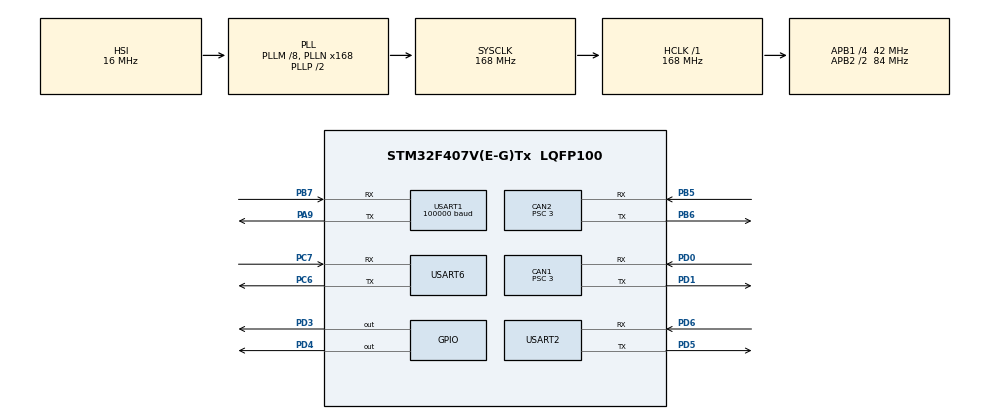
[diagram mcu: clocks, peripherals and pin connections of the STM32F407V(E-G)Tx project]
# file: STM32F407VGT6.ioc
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CAN1.BS1=CAN_BS1_10TQ
CAN1.BS2=CAN_BS2_3TQ
CAN1.CalculateBaudRate=1000000
CAN1.CalculateTimeBit=1000
CAN1.CalculateTimeQuantum=71.42857142857143
CAN1.Prescaler=3
CAN2.BS1=CAN_BS1_10TQ
CAN2.BS2=CAN_BS2_3TQ
CAN2.CalculateBaudRate=1000000
CAN2.CalculateTimeBit=1000
CAN2.CalculateTimeQuantum=71.42857142857143
CAN2.Prescaler=3
Dma.Request0=USART1_RX
Dma.Request1=USART2_RX
Dma.Request2=USART6_RX
Dma.USART1_RX.0.Direction=DMA_PERIPH_TO_MEMORY
Dma.USART1_RX.0.FIFOMode=DMA_FIFOMODE_DISABLE
Dma.USART1_RX.0.Instance=DMA2_Stream5
Dma.USART1_RX.0.MemDataAlignment=DMA_MDATAALIGN_BYTE
Dma.USART1_RX.0.MemInc=DMA_MINC_ENABLE
Dma.USART1_RX.0.Mode=DMA_CIRCULAR
Dma.USART1_RX.0.PeriphDataAlignment=DMA_PDATAALIGN_BYTE
Dma.USART1_RX.0.PeriphInc=DMA_PINC_DISABLE
Dma.USART1_RX.0.Priority=DMA_PRIORITY_VERY_HIGH
Dma.USART2_RX.1.Direction=DMA_PERIPH_TO_MEMORY
Dma.USART2_RX.1.FIFOMode=DMA_FIFOMODE_DISABLE
Dma.USART2_RX.1.Instance=DMA1_Stream5
Dma.USART2_RX.1.MemDataAlignment=DMA_MDATAALIGN_BYTE
Dma.USART2_RX.1.MemInc=DMA_MINC_ENABLE
Dma.USART2_RX.1.Mode=DMA_CIRCULAR
Dma.USART2_RX.1.PeriphDataAlignment=DMA_PDATAALIGN_BYTE
Dma.USART2_RX.1.PeriphInc=DMA_PINC_DISABLE
Dma.USART2_RX.1.Priority=DMA_PRIORITY_LOW
Dma.USART6_RX.2.Direction=DMA_PERIPH_TO_MEMORY
Dma.USART6_RX.2.FIFOMode=DMA_FIFOMODE_DISABLE
Dma.USART6_RX.2.Instance=DMA2_Stream1
Dma.USART6_RX.2.MemDataAlignment=DMA_MDATAALIGN_BYTE
Dma.USART6_RX.2.MemInc=DMA_MINC_ENABLE
Dma.USART6_RX.2.Mode=DMA_NORMAL
Dma.USART6_RX.2.PeriphDataAlignment=DMA_PDATAALIGN_BYTE
Dma.USART6_RX.2.PeriphInc=DMA_PINC_DISABLE
Dma.USART6_RX.2.Priority=DMA_PRIORITY_LOW
Mcu.Family=STM32F4
Mcu.Name=STM32F407V(E-G)Tx
Mcu.Package=LQFP100
NVIC.CAN1_RX0_IRQn=true\:0\:0\:false\:false\:true\:true\:true\:true
NVIC.CAN1_RX1_IRQn=true\:0\:0\:false\:false\:true\:true\:true\:true
NVIC.CAN2_RX0_IRQn=true\:0\:0\:false\:false\:true\:true\:true\:true
NVIC.CAN2_RX1_IRQn=true\:0\:0\:false\:false\:true\:true\:true\:true
NVIC.DMA1_Stream5_IRQn=true\:0\:0\:false\:false\:true\:false\:true\:true
NVIC.DMA2_Stream1_IRQn=true\:0\:0\:false\:false\:true\:false\:true\:true
NVIC.DMA2_Stream5_IRQn=true\:0\:0\:false\:false\:true\:false\:true\:true
NVIC.PriorityGroup=NVIC_PRIORITYGROUP_4
NVIC.TIM6_DAC_IRQn=true\:0\:0\:false\:false\:true\:true\:true\:true
NVIC.USART1_IRQn=true\:0\:0\:false\:false\:true\:true\:true\:true
NVIC.USART2_IRQn=true\:0\:0\:false\:false\:true\:true\:true\:true
NVIC.USART6_IRQn=true\:0\:0\:false\:false\:true\:true\:true\:true
PA13.Mode=Serial_Wire
PA13.Signal=SYS_JTMS-SWDIO
PA14.Mode=Serial_Wire
PA14.Signal=SYS_JTCK-SWCLK
PA9.Mode=Asynchronous
PA9.Signal=USART1_TX
PB5.Mode=CAN_Activate
PB5.Signal=CAN2_RX
PB6.Mode=CAN_Activate
PB6.Signal=CAN2_TX
PB7.Mode=Asynchronous
PB7.Signal=USART1_RX
PC6.Mode=Asynchronous
PC6.Signal=USART6_TX
PC7.Mode=Asynchronous
PC7.Signal=USART6_RX
PD0.Mode=CAN_Activate
PD0.Signal=CAN1_RX
PD1.Mode=CAN_Activate
PD1.Signal=CAN1_TX
PD3.GPIO_ModeDefaultOutputPP=GPIO_MODE_OUTPUT_OD
PD3.GPIO_PuPd=GPIO_NOPULL
PD3.GPIO_Speed=GPIO_SPEED_FREQ_HIGH
PD3.Signal=GPIO_Output
PD4.GPIO_ModeDefaultOutputPP=GPIO_MODE_OUTPUT_OD
PD4.GPIO_PuPd=GPIO_NOPULL
PD4.GPIO_Speed=GPIO_SPEED_FREQ_HIGH
PD4.Signal=GPIO_Output
PD5.Mode=Asynchronous
PD5.Signal=USART2_TX
PD6.Mode=Asynchronous
PD6.Signal=USART2_RX
PH0-OSC_IN.Mode=HSE-External-Oscillator
PH0-OSC_IN.Signal=RCC_OSC_IN
PH1-OSC_OUT.Mode=HSE-External-Oscillator
PH1-OSC_OUT.Signal=RCC_OSC_OUT
ProjectManager.HeapSize=0x200
ProjectManager.StackSize=0x400
ProjectManager.TargetToolchain=MDK-ARM V5.32
RCC.48MHZClocksFreq_Value=84000000
RCC.AHBFreq_Value=168000000
RCC.APB1CLKDivider=RCC_HCLK_DIV4
RCC.APB1Freq_Value=42000000
RCC.APB1TimFreq_Value=84000000
RCC.APB2CLKDivider=RCC_HCLK_DIV2
RCC.APB2Freq_Value=84000000
RCC.APB2TimFreq_Value=168000000
RCC.CortexFreq_Value=168000000
RCC.HCLKFreq_Value=168000000
RCC.HSE_VALUE=25000000
RCC.HSI_VALUE=16000000
RCC.LSE_VALUE=32768
RCC.PLLM=8
RCC.PLLN=168
RCC.SYSCLKFreq_VALUE=168000000
RCC.SYSCLKSource=RCC_SYSCLKSOURCE_PLLCLK
RCC.VCOOutputFreq_Value=336000000
TIM6.AutoReloadPreload=TIM_AUTORELOAD_PRELOAD_ENABLE
TIM6.Period=20-1
TIM6.Prescaler=8400-1
TIM7.Prescaler=84-1
USART1.BaudRate=100000
USART1.Parity=PARITY_EVEN
USART1.VirtualMode=VM_ASYNC
USART1.WordLength=WORDLENGTH_9B
USART2.VirtualMode=VM_ASYNC
USART6.VirtualMode=VM_ASYNC
VP_TIM6_VS_ClockSourceINT.Mode=Enable_Timer
VP_TIM7_VS_ClockSourceINT.Mode=Enable_Timer
board=custom

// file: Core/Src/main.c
/* USER CODE BEGIN Header */
/**
  ******************************************************************************
  * @file           : main.c
  * @brief          : Main
	* @author GORY
  * @date 2025-07-23
  ******************************************************************************
  * @attention
  *
  * The author of this program is GORY.
  * !!The author holds all rights to the work. Unauthorized use, reproduction or dissemination is prohibited.!!
	* The completion time of this program is��2025-07-23
  *
  * This program contains the control program related to the "Baili" robot that Guangzhou Institute of
	* Technology will participate in the 2025 ROBOCON quadruped robot challenge. The author completed the
	* design and programming of the program alone. All rights of this program belong to the author.
  *
  ******************************************************************************
  */
/* USER CODE END Header */
#include "main.h"
#include "can.h"
#include "dma.h"
#include "tim.h"
#include "usart.h"
#include "gpio.h"

/* USER CODE BEGIN Includes */

#include "mydefine.h"

#include <stdio.h>
#include <math.h>
#include <stdint.h>
#include <stdbool.h>
#include "For_out.h"
#include "dog.h"
#include "dwt_timing.h"
#include "walk.h"
#include "OLED.h"

uint8_t FLAH;
float foo;
/*******************************USART1*****************************/
RC_Ctl_t RC_Ctl;
uint8_t sbus_rx_buffer[18];
/*******************************USART2*****************************/
/*******************************CAN********************************/
MOTOR_can_send send;
MOTOR_can_recv UT_motor_data[8];
Changer angle_changer[8];
uint8_t flag1=0;
uint8_t flag0=0;
uint8_t flag2=0;
uint8_t flag_mode=0;
uint8_t mode_lere=0;
/* USER CODE END Includes */

/* USER CODE BEGIN PM */
/****************************���沽̬���ɺ���*****************************/
void dog_small_still(void)
{
			 if(RC_Ctl.rc.ch3==1024&&RC_Ctl.rc.ch2==1024&&RC_Ctl.rc.ch0==1024&&RC_Ctl.rc.ch1==1024&&flag1!=0){
										 if(flag1==8){dog_forward_bit_still_out();flag1=0;flag0=0;}
										else if(flag1==5){dog_back_bit_still_out();flag1=0;flag0=0;}
										else if(flag1==6){dog_left_bit_still_out();flag1=0;flag0=0;}
           			    else if(flag1==7){dog_right_bit_still_out();flag1=0;flag0=0;}}

	    if(RC_Ctl.rc.ch1>=1300){
			  if(flag0==0){dog_forward_bit_still_int();flag0=1;}
			  dog_forward_bit_still(0.0003,0.000042);flag1=8;}//0.00036,0.00018 0.0003,0.000042
			else if(RC_Ctl.rc.ch1<=600){
				if(flag0==0){dog_back_bit_still_int();flag0=1;}
				dog_back_bit_still(0.0003,0.000042);flag1=5;}	//0.00036,0.00018
			else if(RC_Ctl.rc.ch0 <= 600){
				if(flag0==0){dog_left_bit_still_int();flag0=1;}
				dog_left_bit_still(0.0003,0.000042);flag1=6;}//0.00036,0.00015
			else if(RC_Ctl.rc.ch0>=1200){
				if(flag0==0){dog_right_bit_still_int();flag0=1;}
				dog_right_bit_still(0.0003,0.000042);flag1=7;}//0.00036,0.00015
}
void dog_small_still2(void)
{
			 if(RC_Ctl.rc.ch3==1024&&RC_Ctl.rc.ch2==1024&&RC_Ctl.rc.ch0==1024&&RC_Ctl.rc.ch1==1024&&flag1!=0){
										 if(flag1==8){dog_forward_bit_still_out();flag1=0;flag0=0;}
										 else if(flag1==5){dog_back_bit_still_out();flag1=0;flag0=0;}
										 else if(flag1==6){dog_left_bit_still_out();flag1=0;flag0=0;}
										 else if(flag1==7){dog_right_bit_still_out();flag1=0;flag0=0;}}

	    if(RC_Ctl.rc.ch1>=1300){
			  if(flag2==0){dog_squat_int_still();flag2=1;}
        if(flag0==0){dog_forward_bit_still_int();flag0=1;}
			  dog_forward_bit_still(0.0003,0.000042);flag1=8;}//0.00036,0.00018 0.0003,0.000042
			else if(RC_Ctl.rc.ch1<=600){
				if(flag2==0){dog_squat_int_still();flag2=1;}
        if(flag0==0){dog_back_bit_still_int();flag0=1;}
				dog_back_bit_still(0.0003,0.000042);flag1=5;}	//0.00036,0.00018
			else if(RC_Ctl.rc.ch0 <= 600){
				if(flag2==0){dog_squat_int_still();flag2=1;}
        if(flag0==0){dog_left_bit_still_int();flag0=1;}
				dog_left_bit_still(0.0006,0.000084);flag1=6;}//0.00036,0.00015
			else if(RC_Ctl.rc.ch0>=1200){
			  if(flag2==0){dog_squat_int_still();flag2=1;}
				if(flag0==0){dog_right_bit_still_int();flag0=1;}
				dog_right_bit_still(0.0006,0.000084);flag1=7;}//0.00036,0.00015
}
/* USER CODE END PM */

/* USER CODE BEGIN PV */
/* 各腿 IK 高度(z)，0=右后,1=左前,2=左后,3=右前
 * ik_z_target: 期望高度，TIM6 自动平滑插值到达
 * ik_z       : 当前插值状态，与 target 同时赋值可跳过插值直接到位 */
float ik_z_target[4] = {-0.219f, -0.219f, -0.219f, -0.219f};
float ik_z[4]        = {-0.219f, -0.219f, -0.219f, -0.219f};
uint8_t mode = 0; /* 0=位控，1=IK位控站立（各腿独立高度），2=手动步态，5=力控站立 */

/* 力控PD参数（站立）：mode==5 时生�???
 * Kp_z: 弹簧刚度(N/m)，Kd_z: 阻尼(N·s/m)
 * Ff_z: 重力前馈(N)，负值，按实际体重调整（5kg机器人≈-12N/腿） */
FC_PD fc_pd_stand = {
    .Kp_x = 0.0f,   .Kd_x = 5.0f,   .k_x = 0.0f,
    .Kp_z = 200.0f, .Kd_z = 5.0f,   .k_z = 0.0f,
    .Ff_z = -12.0f,
};
/* USER CODE END PV */

void SystemClock_Config(void);

int main(void)
{

  /* MCU Configuration--------------------------------------------------------*/

  /* Reset of all peripherals, Initializes the Flash interface and the Systick. */
  HAL_Init();

  /* Configure the system clock */
  SystemClock_Config();

  /* Initialize all configured peripherals */
  MX_GPIO_Init();
  MX_DMA_Init();
  MX_TIM6_Init();
  MX_USART1_UART_Init();
  MX_CAN1_Init();
  MX_TIM7_Init();
  MX_CAN2_Init();
  MX_USART2_UART_Init();
  MX_USART6_UART_Init();
  /* USER CODE BEGIN 2 */
/****************************CAN*******************************/
	can_filter_init();
	for(uint8_t i=0;i<8;i++){Changer_int(&angle_changer[i]);}
/***************************USART1*****************************/
  HAL_UART_Receive_DMA(&huart1,sbus_rx_buffer,18);
  HAL_Delay(1000);
/***************************��ʱ��*****************************/
  HAL_TIM_Base_Start_IT(&htim6);HAL_TIM_Base_Start_IT(&htim7);
/***************************USART2*****************************/
	uart_init();
/***************************��ʼ��*********************************/

	  //motor_waiting();// �ȴ�������յ��ش�����????
	  OLED_Init();
	  dog_start();
	  FC_Init();
	  DWT_Init();
   // HAL_Delay(5000);
  /* USER CODE END 2 */

  /* Infinite loop */
while (1)
{

    /* USER CODE BEGIN 3 */
		/* OLED 每 300ms 刷新一次 */
		{
			static uint32_t oled_tick = 0;
			if (HAL_GetTick() - oled_tick >= 300)
			{
				oled_tick = HAL_GetTick();
				OLED_Clear();
				OLED_Printf(0,  0, OLED_6X8, "mode:%d", mode);
				OLED_Printf(0,  8, OLED_6X8, "SL:%.3f", walk_param.step_length[0]);
				OLED_Printf(0, 16, OLED_6X8, "TR:%.3f", walk_param.turn_rate);
				OLED_Update();
			}
		}

		if(RC_Ctl.rc.sw>=1300){dog_Go_int();}

		switch(RC_Ctl.rc.s1) {
		  case 1:{
				switch(RC_Ctl.rc.s2) {
				   case 1:{
						  if(flag_mode==0){
							walk_param.stance_height[0]=-0.219f;walk_param.stance_height[1]=-0.219f;
							walk_param.stance_height[2]=-0.219f;walk_param.stance_height[3]=-0.219f;
							walk_param.step_height[0]=0.06f;walk_param.step_height[1]=0.06f;
							walk_param.step_height[2]=0.06f;walk_param.step_height[3]=0.06f;
							{int _c3=(int)RC_Ctl.rc.ch3-1024,_c2=(int)RC_Ctl.rc.ch2-1024;
							if(_c3>100||_c3<-100||_c2>100||_c2<-100){
								float _sl=(_c3>100||_c3<-100)?(float)_c3/660.0f*0.15f:0.0f;
								walk_param.step_length[0]=_sl;walk_param.step_length[1]=_sl;
								walk_param.step_length[2]=_sl;walk_param.step_length[3]=_sl;
								walk_param.turn_rate=(_c2>100||_c2<-100)?(float)_c2/660.0f*0.13f:0.0f;
								walk_param.term=0.32f;
								mode=2;
							}else{
								ik_z_target[0]=-0.219f;ik_z_target[1]=-0.219f;
								ik_z_target[2]=-0.219f;ik_z_target[3]=-0.219f;
								ik_z[0]=-0.219f;ik_z[1]=-0.219f;
								ik_z[2]=-0.219f;ik_z[3]=-0.219f;
								mode=1;}}}
							else if(flag_mode==1){dog_squat_out();flag_mode=0;}
							else if(flag_mode==5||flag_mode==7||flag_mode==8){flag_mode=0;}
					 break;}
				   case 3:{
							mode=0;
              if(flag_mode==0){dog_squat_int();flag_mode=1;}
							else if(flag_mode==2){dog_squat_int_still();flag2=0;flag_mode=1;}
							else if(flag_mode==3){dog_squat_int_still();flag2=0;flag_mode=1;}
							else if(flag_mode==1){
								  if(RC_Ctl.rc.ch3==1024&&RC_Ctl.rc.ch2==1024&&RC_Ctl.rc.ch0==1024&&RC_Ctl.rc.ch1==1024&&flag1==0){dog_squat_int_still();}
									else if(RC_Ctl.rc.ch3==1024&&RC_Ctl.rc.ch2==1024&&RC_Ctl.rc.ch0==1024&&RC_Ctl.rc.ch1==1024&&flag1!=0){
											     if(flag1==1){dog_left_mid_out();flag1=0;flag0=0;}
									    else if(flag1==2){dog_right_mid_out();flag1=0;flag0=0;}
									    else if(flag1==3){dog_back_mid_out();flag1=0;flag0=0;}
								    	else if(flag1==4){dog_forward_mid_out();flag1=0;flag0=0;}}

                  if(RC_Ctl.rc.ch3>=1300){
									    if(flag0==0){dog_forward_mid_int();flag0=1;}
							  	    dog_forward_mid(0.00072,0.00036);flag1=4;}//
									else if(RC_Ctl.rc.ch2 <= 600){
											if(flag0==0){dog_left_mid_int();flag0=1;}
											dog_left_mid(0.00108,0.00045);flag1=1;}//0.00072,0.0003
							    else if(RC_Ctl.rc.ch2 >=1200){
											if(flag0==0){dog_right_mid_int();flag0=1;}
											dog_right_mid(0.00108,0.00045);flag1=2;}//0.00072,0.0003
							    else if(RC_Ctl.rc.ch3<=600){
											if(flag0==0){dog_back_mid_int();flag0=1;}
											dog_back_mid(0.00108,0.00054);flag1=3;}//0.00072,0.00036
							dog_small_still();}

					 break;}
				   case 2:{
								mode=0;
						    if(flag_mode==1){
										if(RC_Ctl.rc.ch3>=1300){dog_bunny_jump_up();flag_mode=2;HAL_Delay(600);}//dog_bunny_jump_up()dog_bunny_jump_forward
										else if(RC_Ctl.rc.ch3<=600){dog_bunny_jump_forward7();flag_mode=2;HAL_Delay(600);}
										//台阶跳
                    else if(RC_Ctl.rc.ch2>=1300){dog_jump_stairs();flag_mode=3;HAL_Delay(600);}
										else if(RC_Ctl.rc.ch2<=600){dog_jump_floor2();flag_mode=3;HAL_Delay(600);}
										else if(RC_Ctl.rc.ch1>=1300){dog_jump_stair();flag_mode=3;HAL_Delay(600);}

								}
								else if(flag_mode==2){
										if(RC_Ctl.rc.ch3==1024&&RC_Ctl.rc.ch2==1024&&RC_Ctl.rc.ch0==1024&&RC_Ctl.rc.ch1==1024&&flag1!=0){
												if(flag1==8){dog_forward_rear_out();flag1=0;flag0=0;}
										    else if(flag1==9){dog_left_rear_out();flag1=0;flag0=0;}
										    else if(flag1==10){dog_right_rear_out();flag1=0;flag0=0;}
												else if(flag1==11){dog_rear_mid_out();flag1=0;flag0=0;}
										}
										if(RC_Ctl.rc.ch1>=1300){
											 if(flag2==0){dog_rear_leg();flag2=1;}
								       if(flag0==0){dog_forward_rear_int();flag0=1;}dog_forward_rear(0.0006,0.00015);flag1=8;}//dog_forward_rear_leg(0.0003,0.000042)0.00036,0.00018 0.0003,0.000042
										else if(RC_Ctl.rc.ch3>=1300){
											 if(flag2==0){dog_rear_leg();flag2=1;}
								       if(flag0==0){dog_rear_mid_int();flag0=1;}dog_rear_mid(0.00072,0.00036);flag1=11;}
									  else if(RC_Ctl.rc.ch0<=600){
											if(flag0==0){dog_left_rear_int();flag0=1;}dog_left_rear(0.0006,0.00015);flag1=9;}//0.00036,0.00015
										else if(RC_Ctl.rc.ch0>=1200){
											if(flag0==0){dog_right_rear_int();flag0=1;}dog_right_rear(0.0006,0.00015);flag1=10;}
								    else if(RC_Ctl.rc.ch3<=600){dog_rear_flip();}}

			     break;}}
      break;}
			case 3:{
				 switch(RC_Ctl.rc.s2) {
					 case 1:{
						  if(flag_mode==0){
							walk_param.stance_height[0]=-0.219f;walk_param.stance_height[1]=-0.219f;
							walk_param.stance_height[2]=-0.219f;walk_param.stance_height[3]=-0.219f;
							walk_param.step_height[0]=0.06f;walk_param.step_height[1]=0.06f;
							walk_param.step_height[2]=0.06f;walk_param.step_height[3]=0.06f;
							{int _c3=(int)RC_Ctl.rc.ch3-1024,_c2=(int)RC_Ctl.rc.ch2-1024;
							if(_c3>100||_c3<-100||_c2>100||_c2<-100){
								float _sl=(_c3>100||_c3<-100)?(float)_c3/660.0f*0.12f:0.0f;
								walk_param.step_length[0]=_sl;walk_param.step_length[1]=_sl;
								walk_param.step_length[2]=_sl;walk_param.step_length[3]=_sl;
								walk_param.turn_rate=(_c2>100||_c2<-100)?(float)_c2/660.0f*0.11f:0.0f;
								walk_param.term=0.4f;
								mode=2;
							}else{
								ik_z_target[0]=-0.219f;ik_z_target[1]=-0.219f;
								ik_z_target[2]=-0.219f;ik_z_target[3]=-0.219f;
								if(mode==0){ik_z[0]=-0.219f;ik_z[1]=-0.219f;
								ik_z[2]=-0.219f;ik_z[3]=-0.219f;}
								mode=1;}}}
						  else if(flag_mode==1){ik_z_target[0]=ik_z_target[1]=ik_z_target[2]=ik_z_target[3]=-0.219f;flag_mode=0;}
						  else if(flag_mode==5||flag_mode==7||flag_mode==8){flag_mode=0;}

					 break;}
				   case 3:{
						  if(flag_mode==0){
							if(mode==0){dog_squat_int();ik_z[0]=ik_z[1]=ik_z[2]=ik_z[3]=-0.131f;}
							else{dog_squat_int_still();}
							ik_z_target[0]=ik_z_target[1]=ik_z_target[2]=ik_z_target[3]=-0.131f;
							flag_mode=1;
							}else if(flag_mode==2||flag_mode==3){
							dog_squat_int_still();
							ik_z_target[0]=ik_z_target[1]=ik_z_target[2]=ik_z_target[3]=-0.131f;
							ik_z[0]=ik_z[1]=ik_z[2]=ik_z[3]=-0.131f;
							flag2=0; flag_mode=1;
							}else if(flag_mode==5){
							ik_z_target[0]=ik_z_target[1]=ik_z_target[2]=ik_z_target[3]=-0.131f;
							flag_mode=1;
							}else if(flag_mode==1){
								int _c3=(int)RC_Ctl.rc.ch3-1024, _c2=(int)RC_Ctl.rc.ch2-1024;
								if(_c3>100||_c3<-100||_c2>100||_c2<-100){
									float _sl=(_c3>100||_c3<-100)?(float)_c3/660.0f*0.07f:0.0f;
									walk_param.stance_height[0]=walk_param.stance_height[1]=
									walk_param.stance_height[2]=walk_param.stance_height[3]=-0.131f;
									walk_param.step_height[0]=walk_param.step_height[1]=
									walk_param.step_height[2]=walk_param.step_height[3]=0.02f;
									walk_param.step_length[0]=walk_param.step_length[1]=
									walk_param.step_length[2]=walk_param.step_length[3]=_sl;
									walk_param.turn_rate=(_c2>100||_c2<-100)?(float)_c2/660.0f*0.06f:0.0f;
									walk_param.term=0.4f;
									mode=2;
								}else{
									ik_z_target[0]=ik_z_target[1]=ik_z_target[2]=ik_z_target[3]=-0.131f;
									mode=1;
								}
							}
					 break;}
					 case 2:{
						 mode=0;
						 if(flag_mode==1){
									if(RC_Ctl.rc.ch3>=1300){dog_jump_force10(6.5f,(fp32[]){7.0f,7.0f,7.6f,7.6f,7.6f,7.6f,7.0f,7.0f});flag_mode=2;HAL_Delay(600);}
									else if(RC_Ctl.rc.ch3<=600){dog_double_jump_force2();flag_mode=2;HAL_Delay(600);}
                  else if(RC_Ctl.rc.ch2<=600){dog_treble_jump_force2();flag_mode=2;HAL_Delay(600);}

//                  else if(RC_Ctl.rc.ch1>=1300){dog_double_jump_force();flag_mode=2;HAL_Delay(300);}
//                  else if(RC_Ctl.rc.ch1<=600){dog_bunny_jump_force6(8.5f,(fp32[]){9.0f,9.0f,10.5f,10.5f,10.0f,10.0f,9.0f,9.0f});flag_mode=2;HAL_Delay(300);}
//									else if(RC_Ctl.rc.ch0>=1200){dog_treble_jump_force();flag_mode=2;HAL_Delay(300);}
									//else if(RC_Ctl.rc.ch0<=600){dog_bunny_jump_force9(8.5f,9.0f);flag_mode=2;HAL_Delay(300);}
							}
	            else if(flag_mode==2){dog_small_still2();
//																 if(RC_Ctl.rc.ch2<=600){dog_jump_force62(8.5f,9.0f);flag_mode=2;HAL_Delay(600);}
							}
					 break;}}
			break;}
			case 2:{
				switch(RC_Ctl.rc.s2) {
					 case 3:{
					 		/* 前高后低 plank，flag_mode=5；中间档，从蹲(1)进入 */
							 if(flag_mode==1){
							 	ik_z_target[1]=-0.219f;ik_z_target[3]=-0.219f;
							 	ik_z_target[0]=-0.132f;ik_z_target[2]=-0.132f;
							 	flag_mode=5;}
							 else if(flag_mode==7||flag_mode==8){
							 	/* 从左高/左低斜坡回到 plank，只改 target */
								ik_z_target[1]=-0.219f;ik_z_target[3]=-0.219f; /* 前腿高 */
								ik_z_target[0]=-0.132f;ik_z_target[2]=-0.132f; /* 后腿低 */
								flag_mode=5; mode=1;}
					 		 else if(flag_mode==5){
									walk_param.stance_height[1]=-0.219f;walk_param.stance_height[3]=-0.219f;
									walk_param.stance_height[0]=-0.132f;walk_param.stance_height[2]=-0.132f;
									{int _c3=(int)RC_Ctl.rc.ch3-1024,_c2=(int)RC_Ctl.rc.ch2-1024;
									if(_c3>100||_c3<-100||_c2>100||_c2<-100){
										float _sl_f=(_c3>100||_c3<-100)?(float)_c3/660.0f*0.12f:0.0f;
										float _sl_r=(_c3>100||_c3<-100)?(float)_c3/660.0f*0.07f:0.0f;
										walk_param.step_length[1]=_sl_f;walk_param.step_length[3]=_sl_f;
										walk_param.step_length[0]=_sl_r;walk_param.step_length[2]=_sl_r;
										walk_param.step_height[1]=0.05f;walk_param.step_height[3]=0.05f;
										walk_param.step_height[0]=0.02f;walk_param.step_height[2]=0.02f;
										walk_param.turn_rate=(_c2>100||_c2<-100)?(float)_c2/660.0f*0.08f:0.0f;
										walk_param.term=0.4f;
										mode=2;
									}else{
										ik_z_target[1]=-0.219f;ik_z_target[3]=-0.219f;
										ik_z_target[0]=-0.132f;ik_z_target[2]=-0.132f;
										mode=1;}}}
					 break;}
					 case 2:{
					 		/* 左高右低 flag_mode=7；经由 plank(5) 或左低(8) 进入 */
							 if(flag_mode==5||flag_mode==8){
								ik_z_target[1]=-0.219f;ik_z_target[2]=-0.219f; /* 左腿高 */
								ik_z_target[0]=-0.132f;ik_z_target[3]=-0.132f; /* 右腿低 */
								flag_mode=7; mode=1;}
					 		 else if(flag_mode==7){
									walk_param.stance_height[1]=-0.219f;walk_param.stance_height[2]=-0.219f;
									walk_param.stance_height[0]=-0.132f;walk_param.stance_height[3]=-0.132f;
									{int _c3=(int)RC_Ctl.rc.ch3-1024,_c2=(int)RC_Ctl.rc.ch2-1024;
									if(_c3>100||_c3<-100||_c2>100||_c2<-100){
										float _sl=(_c3>100||_c3<-100)?(float)_c3/660.0f*0.09f:0.0f;
										walk_param.step_length[0]=_sl;walk_param.step_length[1]=_sl;
										walk_param.step_length[2]=_sl;walk_param.step_length[3]=_sl;
										walk_param.step_height[1]=0.05f;walk_param.step_height[2]=0.05f; /* 左腿高 */
										walk_param.step_height[0]=0.02f;walk_param.step_height[3]=0.02f; /* 右腿低 */
										walk_param.turn_rate=(_c2>100||_c2<-100)?(float)_c2/660.0f*0.08f:0.0f;
										walk_param.term=0.4f;
										mode=2;
									}else{
										ik_z_target[1]=-0.219f;ik_z_target[2]=-0.219f;
										ik_z_target[0]=-0.132f;ik_z_target[3]=-0.132f;
										mode=1;}}}
					 break;}
					 case 1:{
					 		/* 左低右高 flag_mode=8；经由 plank(5) 或左高(7) 进入 */
							 if(flag_mode==5||flag_mode==7){
								ik_z_target[0]=-0.219f;ik_z_target[3]=-0.219f; /* 右腿高 */
								ik_z_target[1]=-0.132f;ik_z_target[2]=-0.132f; /* 左腿低 */
								flag_mode=8; mode=1;}
							 else if(flag_mode==8){
								walk_param.stance_height[0]=-0.219f;walk_param.stance_height[3]=-0.219f;
								walk_param.stance_height[1]=-0.132f;walk_param.stance_height[2]=-0.132f;
								{int _c3=(int)RC_Ctl.rc.ch3-1024,_c2=(int)RC_Ctl.rc.ch2-1024;
								if(_c3>100||_c3<-100||_c2>100||_c2<-100){
									float _sl=(_c3>100||_c3<-100)?(float)_c3/660.0f*0.09f:0.0f;
									walk_param.step_length[0]=_sl;walk_param.step_length[1]=_sl;
									walk_param.step_length[2]=_sl;walk_param.step_length[3]=_sl;
									walk_param.step_height[0]=0.05f;walk_param.step_height[3]=0.05f; /* 右腿高 */
									walk_param.step_height[1]=0.02f;walk_param.step_height[2]=0.02f; /* 左腿低 */
									walk_param.turn_rate=(_c2>100||_c2<-100)?(float)_c2/660.0f*0.08f:0.0f;
									walk_param.term=0.4f;
									mode=2;
								}else{
									ik_z_target[0]=-0.219f;ik_z_target[3]=-0.219f;
									ik_z_target[1]=-0.132f;ik_z_target[2]=-0.132f;
									mode=1;}}}
					 break;}
           }
			break;}
	}

}
  /* USER CODE END 3 */
}

void SystemClock_Config(void)
{
  RCC_OscInitTypeDef RCC_OscInitStruct = {0};
  RCC_ClkInitTypeDef RCC_ClkInitStruct = {0};

  /** Configure the main internal regulator output voltage
  */
  __HAL_RCC_PWR_CLK_ENABLE();
  __HAL_PWR_VOLTAGESCALING_CONFIG(PWR_REGULATOR_VOLTAGE_SCALE1);

  /** Initializes the RCC Oscillators according to the specified parameters
  * in the RCC_OscInitTypeDef structure.
  */
  RCC_OscInitStruct.OscillatorType = RCC_OSCILLATORTYPE_HSI;
  RCC_OscInitStruct.HSIState = RCC_HSI_ON;
  RCC_OscInitStruct.HSICalibrationValue = RCC_HSICALIBRATION_DEFAULT;
  RCC_OscInitStruct.PLL.PLLState = RCC_PLL_ON;
  RCC_OscInitStruct.PLL.PLLSource = RCC_PLLSOURCE_HSI;
  RCC_OscInitStruct.PLL.PLLM = 8;
  RCC_OscInitStruct.PLL.PLLN = 168;
  RCC_OscInitStruct.PLL.PLLP = RCC_PLLP_DIV2;
  RCC_OscInitStruct.PLL.PLLQ = 4;
  if (HAL_RCC_OscConfig(&RCC_OscInitStruct) != HAL_OK)
  {
    Error_Handler();
  }

  /** Initializes the CPU, AHB and APB buses clocks
  */
  RCC_ClkInitStruct.ClockType = RCC_CLOCKTYPE_HCLK|RCC_CLOCKTYPE_SYSCLK
                              |RCC_CLOCKTYPE_PCLK1|RCC_CLOCKTYPE_PCLK2;
  RCC_ClkInitStruct.SYSCLKSource = RCC_SYSCLKSOURCE_PLLCLK;
  RCC_ClkInitStruct.AHBCLKDivider = RCC_SYSCLK_DIV1;
  RCC_ClkInitStruct.APB1CLKDivider = RCC_HCLK_DIV4;
  RCC_ClkInitStruct.APB2CLKDivider = RCC_HCLK_DIV2;

  if (HAL_RCC_ClockConfig(&RCC_ClkInitStruct, FLASH_LATENCY_5) != HAL_OK)
  {
    Error_Handler();
  }
}

/* USER CODE BEGIN 4 */

/**************************************�жϻص�����**************************************/
void HAL_TIM_PeriodElapsedCallback(TIM_HandleTypeDef *htim)
{
	if(htim->Instance == TIM6) {
		#define IK_Z_STEP 0.0005f  /* 每 20ms 最多移动 0.5mm */
		if (mode == 5) {
			/* ---- 力控站立模式 (mode=5) ----
			 * 目标足端 z=-0.22m（物理FK验证值），x=0
			 * 每中断更新全�???4条腿，按FLAH轮流发�?�力矩（分散CAN带宽�??? */
			for (int i = 0; i < 4; i++) {
				fc_leg[i].Foot_Target.x = fc_leg[i].Foot.x;  /* 以当前x为目标，不产生多余横向力 */
				fc_leg[i].Foot_Target.z = -0.22f;
				FC_Update_Leg(i, &fc_pd_stand);
			}
			FC_Send_Torque(FLAH);
			FLAH = (FLAH + 1) & 3;
		}
		else if (mode == 1) {
		/* ---- IK位控站立（各腿独立高度）----
		 * ik_z_target[i] 控制第 i 条腿 z；直接赋值，中断自动平滑插值
		 * 腿编号：0=右后,1=左前,2=左后,3=右前 */
		for (int i = 0; i < 4; i++) {
			if      (ik_z[i] < ik_z_target[i] - IK_Z_STEP) ik_z[i] += IK_Z_STEP;
			else if (ik_z[i] > ik_z_target[i] + IK_Z_STEP) ik_z[i] -= IK_Z_STEP;
			else     ik_z[i] = ik_z_target[i];
			fc_leg[i].Foot_Target.x = 0.0f;
			fc_leg[i].Foot_Target.z = ik_z[i];
			FC_Kinematic_Inversion(&fc_leg[i]);
		}
		FC_Send_Pos_Slot(FLAH, 0.5f, 0.01f);
		FLAH = (FLAH + 1) & 3;
		}
		else if (mode == 2 || mode == 3) {
		/* ---- Bezier步�?�行走模�??? ----
		 * mode=2: 手动（ch3/ch2摇杆�???
		 * mode=3: 上位�??? Pure Pursuit 自动导航
		 * step_length/turn_rate 已在 while(1) 写好，这里只负责轨迹执行 */
		static uint8_t mode_walk_last = 0xFF;
		if (mode_walk_last != mode) {
			walk_enter();
		}
		mode_walk_last = mode;
		walk_run(&FLAH);

		}
		else {
		/* ---- 原始�???单位控模式（默认�???---- */
		if (FLAH == 0) {
			unitree_setpara(&send,0,1,ff_torque[0],0,leg[0],kd,0.01);unitree_CAN_Send(&hcan2,0,11,&send);unitree_CAN_Send(&hcan2,0,10,&send);
			unitree_setpara(&send,2,1,ff_torque[2],0,leg[2],kd,0.01);unitree_CAN_Send(&hcan1,0,11,&send);unitree_CAN_Send(&hcan1,0,10,&send);FLAH = 1;}
		else if (FLAH == 1) {
			unitree_setpara(&send,1,1,ff_torque[1],0,leg[1],kd,0.01);unitree_CAN_Send(&hcan2,0,11,&send);unitree_CAN_Send(&hcan2,0,10,&send);
			unitree_setpara(&send,3,1,ff_torque[3],0,leg[3],kd,0.01);unitree_CAN_Send(&hcan1,0,11,&send);unitree_CAN_Send(&hcan1,0,10,&send);FLAH = 2;}
		else if (FLAH == 2) {
			unitree_setpara(&send,4,1,ff_torque[4],0,leg[4],kd,0.01);unitree_CAN_Send(&hcan1,0,11,&send);unitree_CAN_Send(&hcan1,0,10,&send);
			unitree_setpara(&send,6,1,ff_torque[6],0,leg[6],kd,0.01);unitree_CAN_Send(&hcan2,0,11,&send);unitree_CAN_Send(&hcan2,0,10,&send);FLAH = 3;}
		else if (FLAH == 3) {
			unitree_setpara(&send,5,1,ff_torque[5],0,leg[5],kd,0.01);unitree_CAN_Send(&hcan1,0,11,&send);unitree_CAN_Send(&hcan1,0,10,&send);
			unitree_setpara(&send,7,1,ff_torque[7],0,leg[7],kd,0.01);unitree_CAN_Send(&hcan2,0,11,&send);unitree_CAN_Send(&hcan2,0,10,&send);FLAH = 0;}
		/* FK观测（位控时也更新足端位置，供调试用�??? */
//		for (int i = 0; i < 4; i++) {
//				FC_Motor_To_Joint(&fc_leg[i]);
//				FC_Kinematic_Solution(&fc_leg[i]);
//		}

//		if (FLAH==0){
//			unitree_setpara(&send,0,1,0,0,0,0,0);unitree_CAN_Send(&hcan1,0,11,&send);unitree_CAN_Send(&hcan1,0,10,&send);
//			unitree_setpara(&send,2,1,0,0,0,0,0);unitree_CAN_Send(&hcan2,0,11,&send);unitree_CAN_Send(&hcan2,0,10,&send);FLAH=1;}
//		else if (FLAH==1){
//			unitree_setpara(&send,1,1,0,0,0,0,0);unitree_CAN_Send(&hcan1,0,11,&send);unitree_CAN_Send(&hcan1,0,10,&send);
//			unitree_setpara(&send,3,1,0,0,0,0,0);unitree_CAN_Send(&hcan2,0,11,&send);unitree_CAN_Send(&hcan2,0,10,&send);FLAH=2;}
//		else if (FLAH==2){
//			unitree_setpara(&send,4,1,0,0,0,0,0);unitree_CAN_Send(&hcan2,0,11,&send);unitree_CAN_Send(&hcan2,0,10,&send);
//			unitree_setpara(&send,6,1,0,0,0,0,0);unitree_CAN_Send(&hcan1,0,11,&send);unitree_CAN_Send(&hcan1,0,10,&send);FLAH=3;}
//		else if (FLAH==3){
//			unitree_setpara(&send,5,1,0,0,0,0,0);unitree_CAN_Send(&hcan2,0,11,&send);unitree_CAN_Send(&hcan2,0,10,&send);
//			unitree_setpara(&send,7,1,0,0,0,0,0);unitree_CAN_Send(&hcan1,0,11,&send);unitree_CAN_Send(&hcan1,0,10,&send);FLAH=0;}
	   }
		}
}

/**************************************ң�������ݽṹ**************************************/
void HAL_UART_RxCpltCallback(UART_HandleTypeDef *UartHandle)
{
	/* USART1：SBUS 遥控器数据解�?? */
		RC_Ctl.rc.ch0 = (sbus_rx_buffer[0]| (sbus_rx_buffer[1] <<8))&0x07ff;
		RC_Ctl.rc.ch1 = ((sbus_rx_buffer[1] >> 3) | (sbus_rx_buffer[2] << 5))&0x07ff;
		RC_Ctl.rc.ch2 = ((sbus_rx_buffer[2] >> 6) | (sbus_rx_buffer[3] << 2)|(sbus_rx_buffer[4]<<10))&0x07ff;
		RC_Ctl.rc.ch3 = ((sbus_rx_buffer[4] >> 1) | (sbus_rx_buffer[5] << 7))&0x07ff;
		RC_Ctl.rc.s1  = ((sbus_rx_buffer[5] >> 4)& 0x000C) >> 2;
		RC_Ctl.rc.s2  = ((sbus_rx_buffer[5] >> 4)& 0x0003);
		RC_Ctl.rc.sw=sbus_rx_buffer[16]|(sbus_rx_buffer[17]<<8);

		RC_Ctl.mouse.x = sbus_rx_buffer[6] | (sbus_rx_buffer[7] << 8);
		RC_Ctl.mouse.y = sbus_rx_buffer[8] | (sbus_rx_buffer[9] << 8);
		RC_Ctl.mouse.z = sbus_rx_buffer[10] | (sbus_rx_buffer[11] << 8);
		RC_Ctl.mouse.press_l = sbus_rx_buffer[12];
		RC_Ctl.mouse.press_r = sbus_rx_buffer[13];
		RC_Ctl.key.v = sbus_rx_buffer[14] | (sbus_rx_buffer[15] << 8);

	/* USART2：已改为 DMA 模式，由 uart_task() 处理，此回调仅用�?? USART1 */
	(void)UartHandle;
}
/* 旧代码已删除：Xbox 手柄解析 + 导航帧解析（已移�?? usart_app.c�??
 */
#if 0
static void _deleted_usart2_isr_content(void){/* 删除内容（帧�??? 0x0D 0x0A�???28字节�???---- */
		static uint8_t State=0;
		static uint8_t i=0;
		static union
		{
			uint8_t date[28];
			Xbox_Ctl_t ActVal;
		}posture;
		switch(State)
		{
			case 0:if(RxData==0x0d){State++;}else{State=0;}break;
			case 1:if(RxData==0x0a){i=0;State++;}else if(RxData==0x0d);else{State=0;}break;
			case 2:posture.date[i++]=RxData;if(i>=28){i=0;State++;}break;
			case 3:if(RxData==0x0a){State++;}else{State=0;}break;
			case 4:if(RxData==0x0d){Xbox_Ctl=posture.ActVal;}State=0;break;
			default:State=0;
		}

		/* ---- 上位机导航帧解析（帧�??? 0xAA 0xBB�???4字节dx + 4字节dy + 1字节校验�???----
		 * 两个状�?�机并行运行，帧头不同互不干�??? */
		static uint8_t uc_st=0, uc_i=0, uc_sum=0;
		static uint8_t uc_buf[8];
		switch(uc_st)
		{
			case 0: if(RxData==0xAA){uc_st++;}break;
			case 1: if(RxData==0xBB){uc_i=0;uc_sum=0;uc_st++;}else{uc_st=0;}break;
			case 2: uc_buf[uc_i++]=RxData;uc_sum+=RxData;if(uc_i>=8){uc_st++;}break;
			case 3: {
				if(RxData==uc_sum){
					/* 校验通过，解�??? dx/dy（小�??? float�???*/
					union{uint8_t b[4];float f;}conv;
					conv.b[0]=uc_buf[0];conv.b[1]=uc_buf[1];conv.b[2]=uc_buf[2];conv.b[3]=uc_buf[3];
					uc_dx=conv.f;
					conv.b[0]=uc_buf[4];conv.b[1]=uc_buf[5];conv.b[2]=uc_buf[6];conv.b[3]=uc_buf[7];
					uc_dy=conv.f;
					uc_valid=1;
				}
				uc_st=0;
			}break;
			default:uc_st=0;
		}

		HAL_UART_Receive_IT(&huart2,&xboxrec,1);
	}
}
#endif /* 0 */

void HAL_UART_ErrorCallback(UART_HandleTypeDef *huart)
{
    if(huart->Instance == USART1) {
        HAL_UART_Receive_DMA(&huart1, sbus_rx_buffer, 18);
    }
}
/* USER CODE END 4 */

void Error_Handler(void)
{
  __disable_irq();
  while (1)
  {
  }
}
